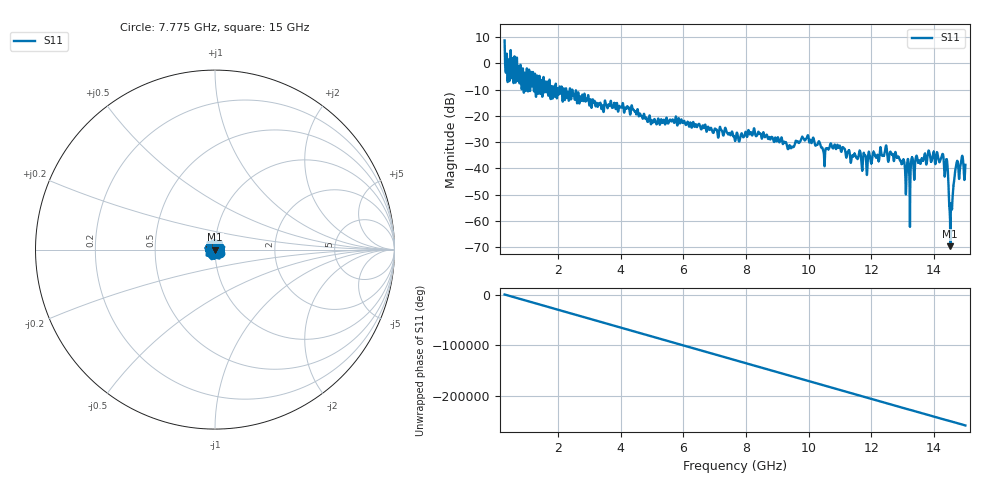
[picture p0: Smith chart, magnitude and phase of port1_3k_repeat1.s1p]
# GHZ S RI R 50.0
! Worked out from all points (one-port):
!   12801 points, 300 MHz to 15 GHz, reference 50 ohm
!   lowest |S11| = -69.6 dB at 14.52 GHz (marker M1), VSWR 1.00, Z = 50 - j0.0302 ohm
!   |S11| at or under -10 dB: 2.264 GHz to 2.378 GHz (113.8 MHz wide, 4.9 % of centre); 2.39 GHz to 2.455 GHz (64.23 MHz wide, 2.65 % of centre); 2.459 GHz to end of sweep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
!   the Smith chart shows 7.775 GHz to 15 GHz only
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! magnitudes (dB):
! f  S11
! 300 MHz  8.7
! 397.6 MHz  -7.1
! 747.9 MHz  -1.0
! 906.4 MHz  -10.4
! 1.143 GHz  -3.3
! 2.138 GHz  -13.0
! 3.975 GHz  -16.5
! 5.015 GHz  -21.9
! 5.812 GHz  -23.6
! 7.65 GHz  -29.4
! 8.216 GHz  -27.0
! 9.488 GHz  -31.8
! 9.931 GHz  -28.5
! 10.36 GHz  -30.6
! 10.47 GHz  -33.3
! 10.76 GHz  -32.2
! 11.32 GHz  -36.3
! 11.91 GHz  -34.0
! 12.44 GHz  -32.6
! 12.82 GHz  -35.8
! 13.16 GHz  -36.4
! 13.47 GHz  -36.3
! 14.24 GHz  -35.4
! 14.4 GHz  -36.5
! 14.52 GHz  -69.6
! 14.57 GHz  -55.4
! 14.71 GHz  -38.4
! 15 GHz  -38.6
